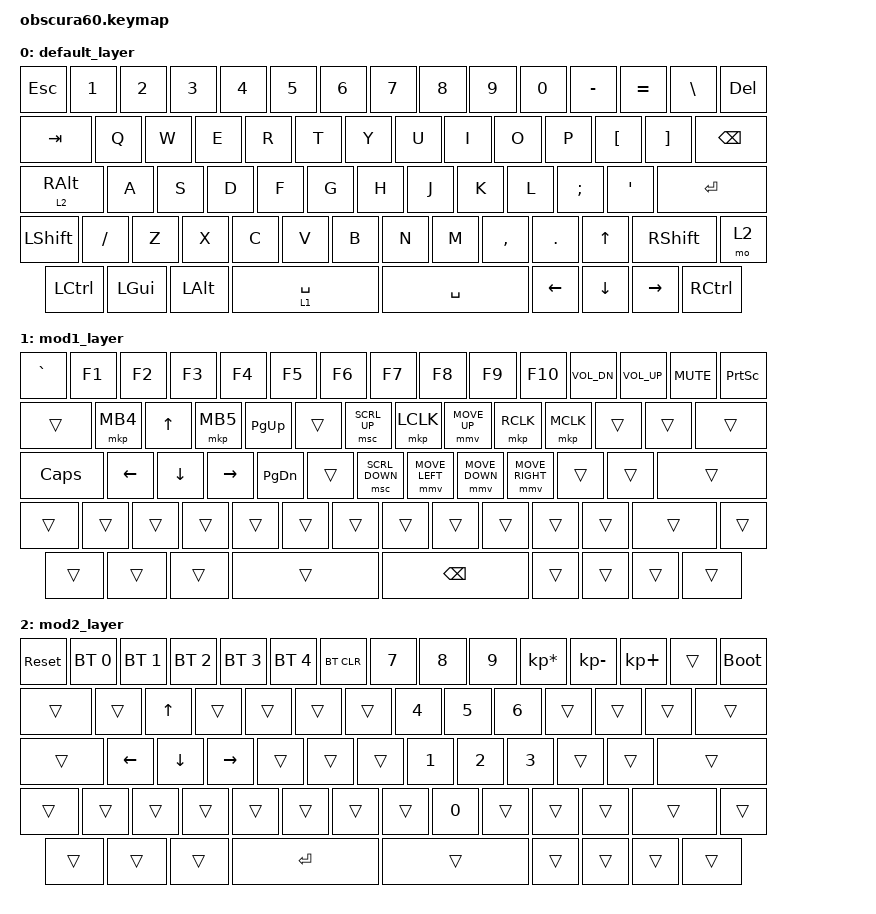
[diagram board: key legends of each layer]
/*
 * SPDX-License-Identifier: MIT
 */

#define ZMK_POINTING_DEFAULT_MOVE_VAL 600
#define ZMK_POINTING_DEFAULT_SCRL_VAL 10

#include <behaviors.dtsi>
#include <dt-bindings/zmk/keys.h>
#include <dt-bindings/zmk/bt.h>
#include <dt-bindings/zmk/pointing.h>

/ {
    keymap {
        compatible = "zmk,keymap";

        default_layer {
// -------------------------------------------------------------------------------------------
// | ESC |  1  |  2  |  3  |  4  |  5  |  6  |  7  |  8  |  9  |  0  |  -  |  =  |  \  | DEL |
// | TAB  |  Q  |  W  |  E  |  R  |  T  |  Y  |  U  |  I  |  O  |  P  |  [  |  ]  |   BSPC   |
// |  Fn2  |  A  |  S  |  D  |  F  |  G  |  H  |  J  |  K  |  L  |  ;  |  '  |     ENTER     |
// |SHIFT|  /  |  Z  |  X  |  C  |  V  |  B  |  N  |  M  |  ,  |  .  |  UP |   SHIFT   | Fn2 |
//    |  CTL |  WIN |  ALT |     Fn1         |      SPACE      |  LT |  DN |  RT |  CTL  |    
// -------------------------------------------------------------------------------------------
            bindings = <
    &kp ESC  &kp N1 &kp N2 &kp N3 &kp N4 &kp N5 &kp N6 &kp N7 &kp N8 &kp N9 &kp N0 &kp MINUS &kp EQUAL &kp BSLH &kp DEL
    &kp TAB     &kp Q  &kp W  &kp E  &kp R  &kp T  &kp Y  &kp U  &kp I  &kp O  &kp P  &kp LBKT  &kp RBKT      &kp BSPC
    &lt 2 RALT    &kp A  &kp S  &kp D  &kp F  &kp G  &kp H  &kp J  &kp K  &kp L  &kp SEMI &kp SQT            &kp ENTER
    &kp LSHFT   &kp SLASH  &kp Z  &kp X  &kp C  &kp V  &kp B  &kp N  &kp M  &kp COMMA &kp DOT &kp UP  &kp RSHFT  &mo 2
    &kp LCTRL &kp LGUI &kp LALT          &lt 1 SPACE            &kp SPACE            &kp LEFT  &kp DOWN  &kp RIGHT &kp RCTRL
            >;
        };

        mod1_layer {
// -------------------------------------------------------------------------------------------
// |  `  | F1  | F2  | F3  | F4  | F5  | F6  | F7  | F8  | F9  | F10 |VOLDN|VOLUP| MUTE| PrSc|
// |      | MB4 |  UP | MB5 | Pgup|     | Sup | Lck | Mup | Rck | Mck |     |     |          |        
// |CAPSLCK|  LT |  DN |  RT | Pgdn|     | Sdn | Mlt | Mdn | Mrt |     |     |               |
// |     |     |     |     |     |     |     |     |     |     |     |     |           |     |
//    |      |      |      |                 |      BSPC       |     |     |     |       |      
// -------------------------------------------------------------------------------------------
            bindings = <
    &kp GRAVE  &kp F1 &kp F2 &kp F3 &kp F4 &kp F5 &kp F6 &kp F7 &kp F8 &kp F9 &kp F10 &kp C_VOL_DN &kp C_VOL_UP &kp C_MUTE &kp PSCRN
    &trans     &mkp MB4  &kp UP  &mkp MB5  &kp PG_UP  &trans  &msc SCRL_UP  &mkp LCLK  &mmv MOVE_UP  &mkp RCLK  &mkp MCLK  &trans  &trans   &trans
    &kp CAPS  &kp LEFT &kp DOWN  &kp RIGHT  &kp PG_DN  &trans  &msc SCRL_DOWN  &mmv MOVE_LEFT  &mmv MOVE_DOWN  &mmv MOVE_RIGHT  &trans  &trans  &trans  
    &trans     &trans  &trans  &trans  &trans  &trans  &trans  &trans  &trans  &trans  &trans  &trans  &trans  &trans  
    &trans    &trans   &trans            &trans              &kp BSPC              &trans    &trans    &trans   &trans  
            >;
        };

        mod2_layer {
// -------------------------------------------------------------------------------------------
// | RST | BT1 | BT2 | BT3 | BT4 | BT5 |CLEAR|  7  |  8  |  9  |  *  |  -  |  +  |     | BOOT|
// |      |     |  UP |     |     |     |     |  4  |  5  |  6  |     |     |     |          |
// |       |  LT |  DN |  RT |     |     |     |  1  |  2  |  3  |     |     |               |
// |     |     |     |     |     |     |     |     |  0  |     |     |     |           |     |
//    |      |      |      |     ENTER       |                 |     |     |     |       |    
// -------------------------------------------------------------------------------------------
            bindings = <
    &sys_reset  &bt BT_SEL 0 &bt BT_SEL 1 &bt BT_SEL 2 &bt BT_SEL 3 &bt BT_SEL 4 &bt BT_CLR  &kp N7 &kp N8 &kp N9  &kp KP_ASTERISK &kp KP_MINUS &kp KP_PLUS &trans &bootloader
    &trans     &trans  &kp UP  &trans  &trans  &trans  &trans  &kp N4 &kp N5 &kp N6  &trans  &trans  &trans   &trans
    &trans     &kp LEFT &kp DOWN  &kp RIGHT  &trans  &trans  &trans  &kp N1 &kp N2 &kp N3       &trans  &trans  &trans  
    &trans     &trans  &trans  &trans  &trans  &trans  &trans  &trans  &kp N0  &trans  &trans  &trans  &trans  &trans  
    &trans    &trans   &trans            &kp ENTER             &trans              &trans    &trans    &trans   &trans 
            >;
        };
    };
};
